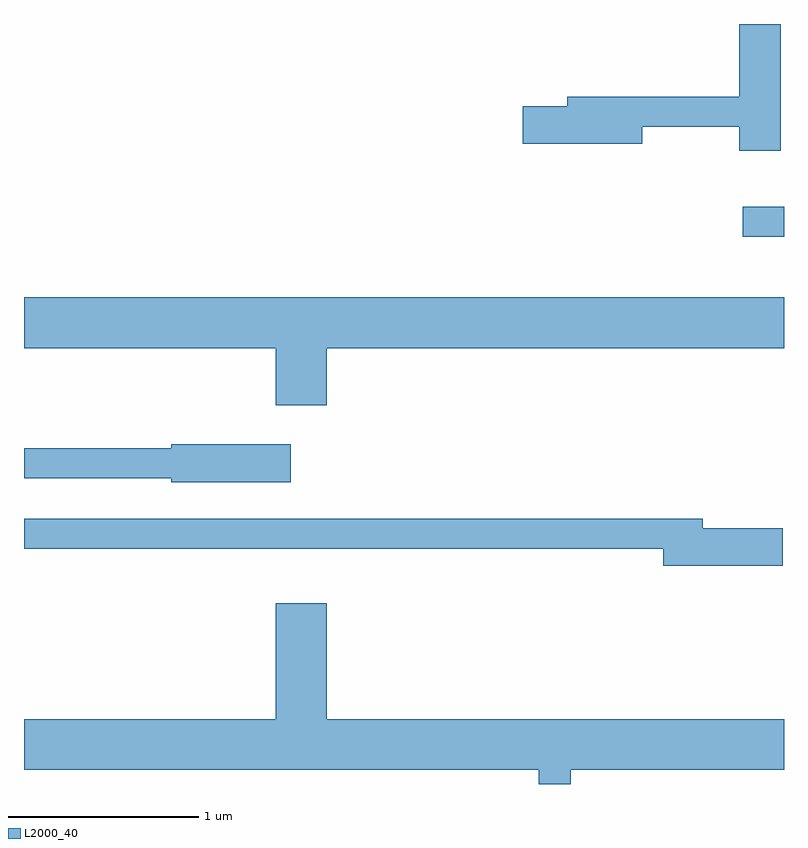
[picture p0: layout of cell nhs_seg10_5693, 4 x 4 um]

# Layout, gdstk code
import gdstk
lib = gdstk.Library(unit=1e-6, precision=1e-09)
def R(c, l, rs):  # rectangles x0, y0, x1, y1
    for r in rs: c.add(gdstk.rectangle(r[:2], r[2:], *l))
def P(c, l, *ps):  # polygons
    for p in ps: c.add(gdstk.Polygon(p, *l))
L2000_40 = (2000, 40)

nhs_seg10_5693 = lib.new_cell('nhs_seg10_5693')
R(nhs_seg10_5693, L2000_40, [(357.393,2103.401,357.611,2103.559)])
P(nhs_seg10_5693, L2000_40, [(357.594,2104.522),(357.376,2104.522),(357.376,2104.139),(356.471,2104.139),(356.471,2104.089),(356.236,2104.089),(356.236,2103.891),(356.864,2103.891),(356.864,2103.981),(357.376,2103.981),(357.376,2103.856),(357.594,2103.856)],
  [(355.204,2102.816),(357.611,2102.816),(357.611,2103.084),(353.611,2103.084),(353.611,2102.816),(354.936,2102.816),(354.936,2102.516),(355.204,2102.516)],
  [(355.014,2102.309),(354.386,2102.309),(354.386,2102.289),(353.611,2102.289),(353.611,2102.131),(354.386,2102.131),(354.386,2102.111),(355.014,2102.111)],
  [(357.604,2101.869),(357.184,2101.869),(357.184,2101.919),(353.611,2101.919),(353.611,2101.761),(356.976,2101.761),(356.976,2101.671),(357.604,2101.671)],
  [(356.489,2100.596),(357.611,2100.596),(357.611,2100.864),(355.204,2100.864),(355.204,2101.474),(354.936,2101.474),(354.936,2100.864),(353.611,2100.864),(353.611,2100.596),(356.321,2100.596),(356.321,2100.522),(356.489,2100.522)])

lib.write_gds('nhs_seg10_5693.gds')
